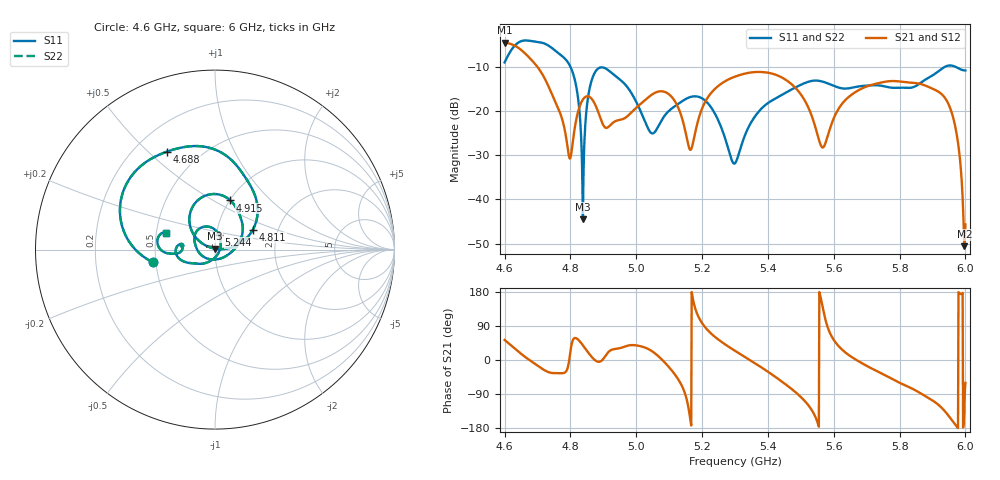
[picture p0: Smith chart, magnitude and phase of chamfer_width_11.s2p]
! TOUCHSTONE file generated by CST MICROWAVE STUDIO
! Date and time: Sat Nov 30 03:28:49 2024
! Project name: test_tuning.cst
! Parameters = {airCoaxOuterDiameter=3; chamferAngle=45; chamferWidth=22; connectorLength=10; drillingHoleDiameter=4.1; feedLength=60; flareDiameter=130; flareLength=70; gratingDistance=0; gratingGap=1.90274; outletLength=30; polarizerLength=134; probe1Diameter=1.3; probe1Distance=14; probe1Length=1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
! Header version: 2024
! Port assignment regex: !\s*Touchstone port\s*([0-9]+)\s*=\s*(CST MWS port|CST DES external port|CST DES block port)\s*(.+)\s* \(\"(.*)\"\)(\s*mode\s*([0-9]+))?.*
! Touchstone port assignment:
! Touchstone port 1 = CST MWS port 1 ("Input1")
! Touchstone port 2 = CST MWS port 2 ("Input2")
# GHz S MA R 50
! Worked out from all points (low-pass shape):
!   1001 points, 4.6 GHz to 6 GHz, reference 50 ohm
!   highest |S21| = -4.58 dB at 4.6 GHz (marker M1); lowest = -50.6 dB at 5.997 GHz (marker M2)
!   |S21| within 3 dB of the highest: start of sweep to 4.67 GHz
!   lowest |S11| = -44.5 dB at 4.838 GHz (marker M3), VSWR 1.01, Z = 49.8 + j0.571 ohm
!   |S11| at or under -10 dB: 4.8 GHz to 5.94 GHz (1.14 GHz wide, 21.2 % of centre); 5.968 GHz to end of sweep
!   |S22| runs from -44.5 to -4.1 dB; largest |S21 - S12| = 4.5e-07
!   S11 on the Smith chart (normalised r, x): 4.6 GHz: 0.48, -0.08; 4.688 GHz: 0.33, +0.57; 4.811 GHz: 1.49, +0.35; 4.915 GHz: 1.01, +0.60; 5.244 GHz: 1.03, +0.17; 6 GHz: 0.57, +0.11
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4.6  0.3518 -168.4  0.5904 53.0  0.5904 53.0  0.3518 -168.4
4.6882  0.6081 116.2  0.3526 -7.7  0.3526 -7.7  0.6081 116.2
4.796  0.3355 45.1  0.03018 -2.0  0.03018 -2.0  0.3355 45.1
4.8114  0.2383 27.7  0.05819 57.3  0.05819 57.3  0.2383 27.7
4.8338  0.03838 4.0  0.1262 43.5  0.1262 43.5  0.03837 4.0
4.838  0.005925 104.7  0.1343 38.6  0.1343 38.6  0.005925 104.7
4.8646  0.2214 130.2  0.1364 8.1  0.1364 8.1  0.2214 130.2
4.915  0.2871 72.6  0.06543 20.8  0.06543 20.8  0.2871 72.6
5.0676  0.06737 -133.9  0.165 9.6  0.165 9.6  0.06737 -133.9
5.1194  0.1139 165.1  0.1244 -40.7  0.1244 -40.7  0.1139 165.1
5.1642  0.143 138.5  0.03618 -156.7  0.03618 -156.7  0.143 138.5
5.244  0.08547 75.0  0.1837 57.6  0.1837 57.6  0.08547 75.0
5.3  0.02553 -31.8  0.243 24.3  0.243 24.3  0.02553 -31.8
5.3784  0.1039 -131.2  0.2743 -18.5  0.2743 -18.5  0.1039 -131.2
5.5338  0.2176 -173.2  0.08608 -132.9  0.08608 -132.9  0.2176 -173.2
5.5674  0.2128 175.6  0.03853 135.5  0.03853 135.5  0.2128 175.6
5.6374  0.1782 173.5  0.1345 18.5  0.1345 18.5  0.1782 173.5
5.7676  0.184 170.6  0.2156 -45.5  0.2156 -45.5  0.184 170.6
5.944  0.3208 174.6  0.1286 -141.8  0.1286 -141.8  0.3208 174.6
5.9762  0.3052 162.0  0.04717 -178.3  0.04717 -178.3  0.3052 162.0
5.9972  0.2857 161.2  0.002955 -112.7  0.002955 -112.7  0.2857 161.2
6  0.2854 161.4  0.005201 -60.5  0.005201 -60.5  0.2854 161.4
